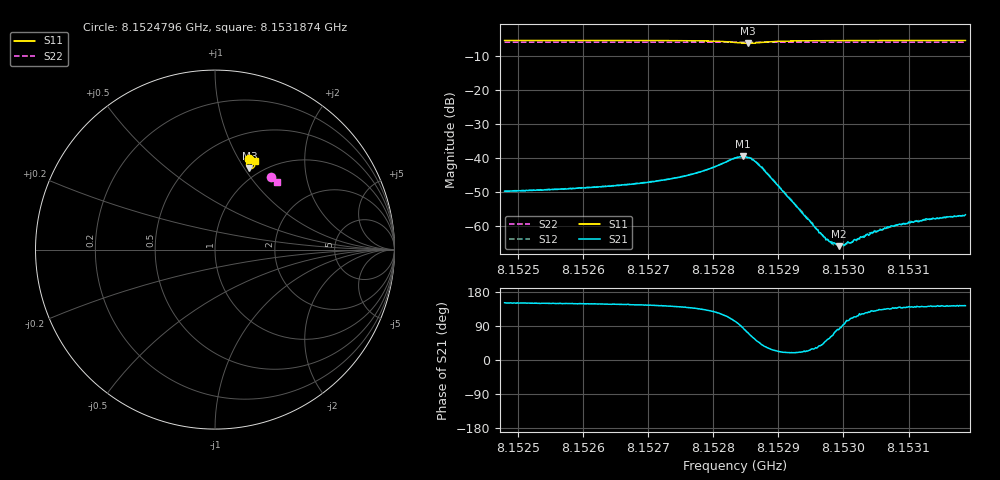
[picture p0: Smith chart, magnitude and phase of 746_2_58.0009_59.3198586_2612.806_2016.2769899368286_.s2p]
#  HZ  S  RI  R  50.00
! Rohde & Schwarz Vector Network Analyzer
! Rohde-Schwarz,ZNB20-2Port,1311601062101988,3.16
! Created: UTC 3/21/2024, 1:23:47 AM
! freq[Hz]  re:S11  im:S11  re:S21  im:S21  re:S12  im:S12  re:S22  im:S22
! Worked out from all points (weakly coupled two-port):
!   401 points, 8.1524796 GHz to 8.1531874 GHz, reference 50 ohm
!   highest |S21| = -39.43 dB at 8.1528459 GHz (marker M1); lowest = -65.8 dB at 8.1529927 GHz (marker M2)
!   lowest |S11| = -6.2 dB at 8.152853 GHz (marker M3), VSWR 2.93, Z = 44.2 + j52.7 ohm
!   |S11| at or under -10 dB: nowhere
!   |S22| runs from -5.9 to -5.8 dB; largest |S21 - S12| = 0.00044
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8.15247964e9  0.1876 0.5068  -0.00289 0.0016  -0.00283 0.00164  0.3094 0.4069
8.15259819e9  0.1972 0.5031  -0.00313 0.00191  -0.00314 0.00197  0.3152 0.402
8.15265835e9  0.2025 0.5004  -0.00337 0.00222  -0.00335 0.00223  0.3181 0.3996
8.15271673e9  0.209 0.4967  -0.00378 0.00278  -0.00378 0.00283  0.321 0.3971
8.15277689e9  0.2176 0.4885  -0.00441 0.00435  -0.00438 0.00444  0.3239 0.3943
8.15283351e9  0.2155 0.4582  -0.00215 0.00984  -0.00209 0.00993  0.3261 0.391
8.15284589e9  0.2015 0.4511  0.00101 0.0106  0.00103 0.0106  0.326 0.3905
8.15285297e9  0.1912 0.4522  0.00308 0.00987  0.00311 0.01  0.326 0.3904
8.15286182e9  0.1807 0.4597  0.00503 0.00808  0.00502 0.00802  0.3261 0.3906
8.15287243e9  0.1759 0.472  0.00551 0.00525  0.00577 0.00532  0.3267 0.3906
8.15295205e9  0.1989 0.4976  0.000947 0.000537  0.00102 0.000513  0.3315 0.3879
8.15296975e9  0.2023 0.4978  0.0005 0.000492  0.000522 0.000483  0.3325 0.3872
8.15297506e9  0.2032 0.4976  0.000383 0.00052  0.000408 0.000506  0.3327 0.3869
8.15298744e9  0.2052 0.4975  0.00015 0.000539  0.000172 0.000511  0.3333 0.3864
8.15299275e9  0.2057 0.4974  9e-05 0.000504  7.87e-05 0.000514  0.3338 0.3862
8.15300336e9  0.2073 0.4973  -9.76e-05 0.000546  -5.78e-05 0.00054  0.3341 0.3856
8.15302106e9  0.2095 0.4968  -0.000285 0.000583  -0.000258 0.000581  0.335 0.3849
8.15303875e9  0.2115 0.4962  -0.000444 0.000591  -0.000458 0.000661  0.3358 0.3841
8.1530706e9  0.2148 0.4955  -0.000686 0.000701  -0.000689 0.000689  0.3375 0.3828
8.15311483e9  0.2188 0.4942  -0.000901 0.000743  -0.000925 0.000741  0.3395 0.3809
8.15312722e9  0.2197 0.4938  -0.000996 0.000828  -0.000955 0.000775  0.3402 0.3804
8.15318737e9  0.2247 0.4921  -0.00119 0.000886  -0.00115 0.000871  0.3428 0.3778
